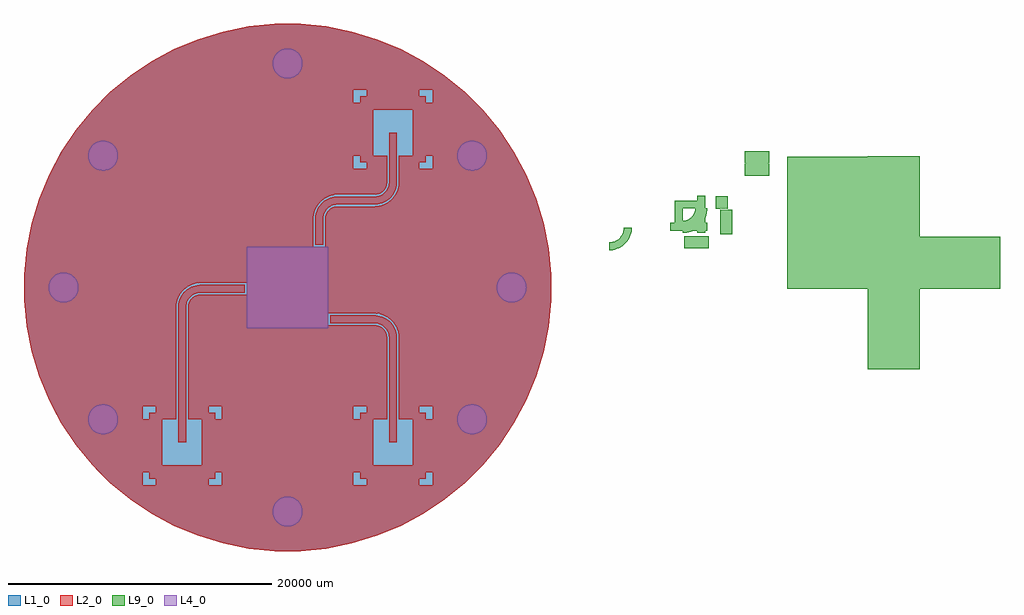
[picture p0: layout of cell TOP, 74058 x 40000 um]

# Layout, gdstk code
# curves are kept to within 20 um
import gdstk
lib = gdstk.Library(unit=1e-6, precision=1e-06)
def R(c, l, rs):  # rectangles x0, y0, x1, y1
    for r in rs: c.add(gdstk.rectangle(r[:2], r[2:], *l))
def P(c, l, *ps):  # polygons
    for p in ps: c.add(gdstk.Polygon(p, *l))
L1_0 = (1, 0)
L2_0 = (2, 0)
L4_0 = (4, 0)
L9_0 = (9, 0)

top = lib.new_cell('TOP')
P(top, L1_0, [(-983,-20000),(-2938,-19807),(-4865,-19424),(-6746,-18854),(-8561,-18102),(-10294,-17175),(-11928,-16084),(-13447,-14837),(-14837,-13447),(-16084,-11928),(-17175,-10294),(-18102,-8561),(-18854,-6746),(-19424,-4865),(-19807,-2938),(-20000,-983),(-20000,983),(-19807,2938),(-19424,4865),(-18854,6746),(-18102,8561),(-17175,10294),(-16084,11928),(-14837,13447),(-13447,14837),(-11928,16084),(-10294,17175),(-8561,18102),(-6746,18854),(-4865,19424),(-2938,19807),(-983,20000),(983,20000),(2938,19807),(4865,19424),(6746,18854),(8561,18102),(10294,17175),(11928,16084),(13447,14837),(14837,13447),(16084,11928),(17175,10294),(18102,8561),(18854,6746),(19424,4865),(19807,2938),(20000,983),(20000,-983),(19807,-2938),(19424,-4865),(18854,-6746),(18102,-8561),(17175,-10294),(16084,-11928),(14837,-13447),(13447,-14837),(11928,-16084),(10294,-17175),(8561,-18102),(6746,-18854),(4865,-19424),(2938,-19807),(983,-20000)])
P(top, L2_0, [(-983,-20000),(-2938,-19807),(-4865,-19424),(-6746,-18854),(-8561,-18102),(-10294,-17175),(-11928,-16084),(-13447,-14837),(-14284,-14000),(-11000,-14000),(-11000,-15000),(-10000,-15000),(-10000,-14500),(-10500,-14500),(-10500,-14000),(-5500,-14000),(-5500,-14500),(-6000,-14500),(-6000,-15000),(-5000,-15000),(-5000,-14000),(5000,-14000),(5000,-15000),(6000,-15000),(6000,-14500),(5500,-14500),(5500,-14000),(10500,-14000),(10500,-14500),(10000,-14500),(10000,-15000),(11000,-15000),(11000,-14000),(-14284,-14000),(-14837,-13447),(-16084,-11928),(-17175,-10294),(-17867,-9000),(-11000,-9000),(-11000,-10000),(-10500,-10000),(-10500,-9500),(-10000,-9500),(-10000,-9000),(-17867,-9000),(-18102,-8561),(-18854,-6746),(-19424,-4865),(-19807,-2938),(-20000,-983),(-20000,352),(-6641,352),(-6964,315),(-7246,234),(-7495,120),(-7766,-64),(-7986,-275),(-8166,-516),(-8312,-797),(-8414,-1128),(-8452,-1459),(-8452,-10000),(-9500,-10000),(-9500,-13500),(-6500,-13500),(-6500,-10000),(-7548,-10000),(-7548,-9000),(-6000,-9000),(-6000,-9500),(-5500,-9500),(-5500,-10000),(-5000,-10000),(-5000,-9000),(5000,-9000),(5000,-10000),(5500,-10000),(5500,-9500),(6000,-9500),(6000,-9000),(-7548,-9000),(-7548,-1968),(3100,-1968),(3100,-2872),(6625,-2872),(6863,-2910),(7127,-3034),(7315,-3200),(7427,-3361),(7510,-3559),(7546,-3754),(7548,-10000),(6500,-10000),(6500,-13500),(9500,-13500),(9500,-10000),(8452,-10000),(8452,-9000),(10000,-9000),(10000,-9500),(10500,-9500),(10500,-10000),(11000,-10000),(11000,-9000),(8452,-9000),(8447,-3678),(8403,-3398),(8303,-3095),(8150,-2810),(7986,-2595),(7726,-2352),(7413,-2158),(7074,-2031),(6674,-1969),(-7548,-1968),(-7546,-1434),(-7483,-1158),(-7315,-880),(-7050,-667),(-6842,-584),(-6625,-552),(-3100,-552),(-3100,352),(-20000,352),(-20000,983),(-19807,2938),(-19424,4865),(-18854,6746),(-18102,8561),(-17332,10000),(5000,10000),(5000,9000),(6000,9000),(6000,9500),(5500,9500),(5500,10000),(-17332,10000),(-17175,10294),(-16084,11928),(-14784,13500),(6500,13500),(6500,10000),(7548,10000),(7548,7973),(7461,7606),(7341,7410),(7184,7253),(6992,7136),(6786,7069),(3609,7040),(3326,6987),(3076,6900),(2634,6634),(2414,6423),(2234,6182),(2088,5901),(1986,5570),(1948,5239),(1948,3100),(2852,3100),(2860,5322),(2922,5553),(3022,5737),(3162,5896),(3332,6021),(3558,6114),(3775,6146),(6641,6146),(6907,6172),(7207,6249),(7449,6355),(7691,6503),(7941,6724),(8114,6934),(8262,7185),(8365,7442),(8430,7718),(8452,10000),(10500,10000),(10500,9500),(10000,9500),(10000,9000),(11000,9000),(11000,10000),(9500,10000),(9500,13500),(-14784,13500),(-13447,14837),(-13248,15000),(5000,15000),(5000,14000),(5500,14000),(5500,14500),(6000,14500),(6000,15000),(10000,15000),(10000,14500),(10500,14500),(10500,14000),(11000,14000),(11000,15000),(-13248,15000),(-11928,16084),(-10294,17175),(-8561,18102),(-6746,18854),(-4865,19424),(-2938,19807),(-983,20000),(983,20000),(2938,19807),(4865,19424),(6746,18854),(8561,18102),(10294,17175),(11928,16084),(13447,14837),(14837,13447),(16084,11928),(17175,10294),(18102,8561),(18854,6746),(19424,4865),(19807,2938),(20000,983),(20000,-983),(19807,-2938),(19424,-4865),(18854,-6746),(18102,-8561),(17175,-10294),(16084,-11928),(14837,-13447),(13447,-14837),(11928,-16084),(10294,-17175),(8561,-18102),(6746,-18854),(4865,-19424),(2938,-19807),(983,-20000)],
  [(2100,3252),(2100,5278),(2149,5609),(2262,5923),(2434,6210),(2788,6564),(3229,6800),(3720,6898),(6758,6909),(6968,6961),(7164,7054),(7338,7183),(7484,7344),(7637,7630),(7700,7948),(7700,11750),(8300,11750),(8300,7918),(8202,7427),(7966,6986),(7742,6738),(7473,6539),(7171,6396),(6846,6314),(3750,6298),(3432,6235),(3236,6142),(3062,6013),(2916,5852),(2763,5566),(2711,5356),(2700,3252)],
  [(7700,-11750),(7700,-3770),(7668,-3555),(7595,-3351),(7415,-3082),(7254,-2936),(6968,-2783),(6758,-2731),(3252,-2720),(3252,-2120),(6846,-2136),(7171,-2218),(7612,-2454),(7860,-2678),(8138,-3095),(8251,-3409),(8300,-3740),(8300,-11750)],
  [(-8300,-11750),(-8300,-1420),(-8251,-1089),(-8138,-775),(-7860,-358),(-7612,-134),(-7171,102),(-6846,184),(-3252,200),(-3252,-400),(-6758,-411),(-6968,-463),(-7254,-616),(-7415,-762),(-7595,-1031),(-7668,-1235),(-7700,-1450),(-7700,-11750)])
R(top, L4_0, [(-3100,-3100,3100,3100)])
P(top, L4_0, [(-14021,-11130),(-14214,-11110),(-14452,-11036),(-14634,-10936),(-14814,-10784),(-14936,-10634),(-15047,-10426),(-15110,-10214),(-15130,-9979),(-15110,-9786),(-15036,-9548),(-14936,-9366),(-14784,-9186),(-14634,-9064),(-14426,-8953),(-14214,-8890),(-13979,-8870),(-13786,-8890),(-13548,-8964),(-13366,-9064),(-13186,-9216),(-13064,-9366),(-12953,-9574),(-12890,-9786),(-12870,-10021),(-12890,-10214),(-12964,-10452),(-13064,-10634),(-13216,-10814),(-13366,-10936),(-13574,-11047),(-13786,-11110)],
  [(-14021,8870),(-14214,8890),(-14452,8964),(-14634,9064),(-14814,9216),(-14936,9366),(-15047,9574),(-15110,9786),(-15130,10021),(-15110,10214),(-15036,10452),(-14936,10634),(-14784,10814),(-14634,10936),(-14426,11047),(-14214,11110),(-13979,11130),(-13786,11110),(-13548,11036),(-13366,10936),(-13186,10784),(-13064,10634),(-12953,10426),(-12890,10214),(-12870,9979),(-12890,9786),(-12964,9548),(-13064,9366),(-13216,9186),(-13366,9064),(-13574,8953),(-13786,8890)],
  [(-21,15870),(-214,15890),(-452,15964),(-634,16064),(-814,16216),(-936,16366),(-1047,16574),(-1110,16786),(-1130,17021),(-1110,17214),(-1036,17452),(-936,17634),(-784,17814),(-634,17936),(-426,18047),(-214,18110),(21,18130),(214,18110),(452,18036),(634,17936),(814,17784),(936,17634),(1047,17426),(1110,17214),(1130,16979),(1110,16786),(1036,16548),(936,16366),(784,16186),(634,16064),(426,15953),(214,15890)],
  [(-21,-18130),(-214,-18110),(-452,-18036),(-634,-17936),(-814,-17784),(-936,-17634),(-1047,-17426),(-1110,-17214),(-1130,-16979),(-1110,-16786),(-1036,-16548),(-936,-16366),(-784,-16186),(-634,-16064),(-426,-15953),(-214,-15890),(21,-15870),(214,-15890),(452,-15964),(634,-16064),(814,-16216),(936,-16366),(1047,-16574),(1110,-16786),(1130,-17021),(1110,-17214),(1036,-17452),(936,-17634),(784,-17814),(634,-17936),(426,-18047),(214,-18110)],
  [(13979,8870),(13786,8890),(13548,8964),(13366,9064),(13186,9216),(13064,9366),(12953,9574),(12890,9786),(12870,10021),(12890,10214),(12964,10452),(13064,10634),(13216,10814),(13366,10936),(13574,11047),(13786,11110),(14021,11130),(14214,11110),(14452,11036),(14634,10936),(14814,10784),(14936,10634),(15047,10426),(15110,10214),(15130,9979),(15110,9786),(15036,9548),(14936,9366),(14784,9186),(14634,9064),(14426,8953),(14214,8890)],
  [(13979,-11130),(13786,-11110),(13548,-11036),(13366,-10936),(13186,-10784),(13064,-10634),(12953,-10426),(12890,-10214),(12870,-9979),(12890,-9786),(12964,-9548),(13064,-9366),(13216,-9186),(13366,-9064),(13574,-8953),(13786,-8890),(14021,-8870),(14214,-8890),(14452,-8964),(14634,-9064),(14814,-9216),(14936,-9366),(15047,-9574),(15110,-9786),(15130,-10021),(15110,-10214),(15036,-10452),(14936,-10634),(14784,-10814),(14634,-10936),(14426,-11047),(14214,-11110)],
  [(-17021,-1130),(-17214,-1110),(-17452,-1036),(-17634,-936),(-17814,-784),(-17936,-634),(-18047,-426),(-18110,-214),(-18130,21),(-18110,214),(-18036,452),(-17936,634),(-17784,814),(-17634,936),(-17426,1047),(-17214,1110),(-16979,1130),(-16786,1110),(-16548,1036),(-16366,936),(-16186,784),(-16064,634),(-15953,426),(-15890,214),(-15870,-21),(-15890,-214),(-15964,-452),(-16064,-634),(-16216,-814),(-16366,-936),(-16574,-1047),(-16786,-1110)],
  [(16979,-1130),(16786,-1110),(16548,-1036),(16366,-936),(16186,-784),(16064,-634),(15953,-426),(15890,-214),(15870,21),(15890,214),(15964,452),(16064,634),(16216,814),(16366,936),(16574,1047),(16786,1110),(17021,1130),(17214,1110),(17452,1036),(17634,936),(17814,784),(17936,634),(18047,426),(18110,214),(18130,-21),(18110,-214),(18036,-452),(17936,-634),(17784,-814),(17634,-936),(17426,-1047),(17214,-1110)])
R(top, L9_0, [(44008,-6190,47957,9961), (37907,-89,54058,3860), (30116,2991,31972,3895), (37913,3831,43996,9936), (32822,4026,33726,5882), (31084,4144,31684,6952), (29028,4296,31836,4896), (32501,5989,33405,6941)])
P(top, L9_0, [(34684,8498),(34684,9402),(35030,9467),(35321,9647),(35549,9958),(35611,10138),(35636,10354),(36540,10354),(36498,9961),(36390,9626),(36217,9308),(35989,9035),(35732,8822),(35413,8647),(35060,8536)],
  [(34684,8498),(34684,9402),(35030,9467),(35321,9647),(35549,9958),(35611,10138),(35636,10354),(36540,10354),(36498,9961),(36390,9626),(36217,9308),(35989,9035),(35732,8822),(35413,8647),(35060,8536)],
  [(36495,8498),(36147,8540),(35786,8659),(35472,8836),(35221,9049),(35008,9306),(34833,9625),(34722,9978),(34684,10354),(35588,10354),(35653,10008),(35833,9717),(36144,9489),(36324,9427),(36540,9402),(36540,8498)],
  [(35636,8498),(35571,8844),(35391,9135),(35080,9363),(34900,9425),(34684,9450),(34684,10354),(34968,10332),(35224,10273),(35701,10050),(36089,9710),(36358,9299),(36496,8902),(36540,8498)],
  [(34684,8498),(34722,8874),(34833,9227),(35008,9546),(35221,9803),(35494,10031),(35812,10204),(36147,10312),(36540,10354),(36540,9450),(36186,9381),(35898,9200),(35770,9058),(35665,8874),(35588,8498)],
  [(29980,4144),(29980,5048),(30326,5113),(30617,5293),(30845,5604),(30907,5784),(30932,6000),(31836,6000),(31794,5607),(31686,5272),(31513,4954),(31285,4681),(31028,4468),(30709,4293),(30356,4182)],
  [(29380,4296),(29380,6000),(29980,6000),(29980,4896),(31084,4896),(31084,6000),(29380,6000),(29380,6600),(31684,6600),(31684,4296)],
  [(24411,2824),(24411,3424),(24783,3487),(24979,3580),(25153,3709),(25299,3870),(25410,4055),(25483,4259),(25515,4528),(26115,4528),(26099,4278),(26017,3953),(25874,3651),(25675,3382),(25427,3158),(25140,2986),(24826,2873)])

lib.write_gds('TOP.gds')
